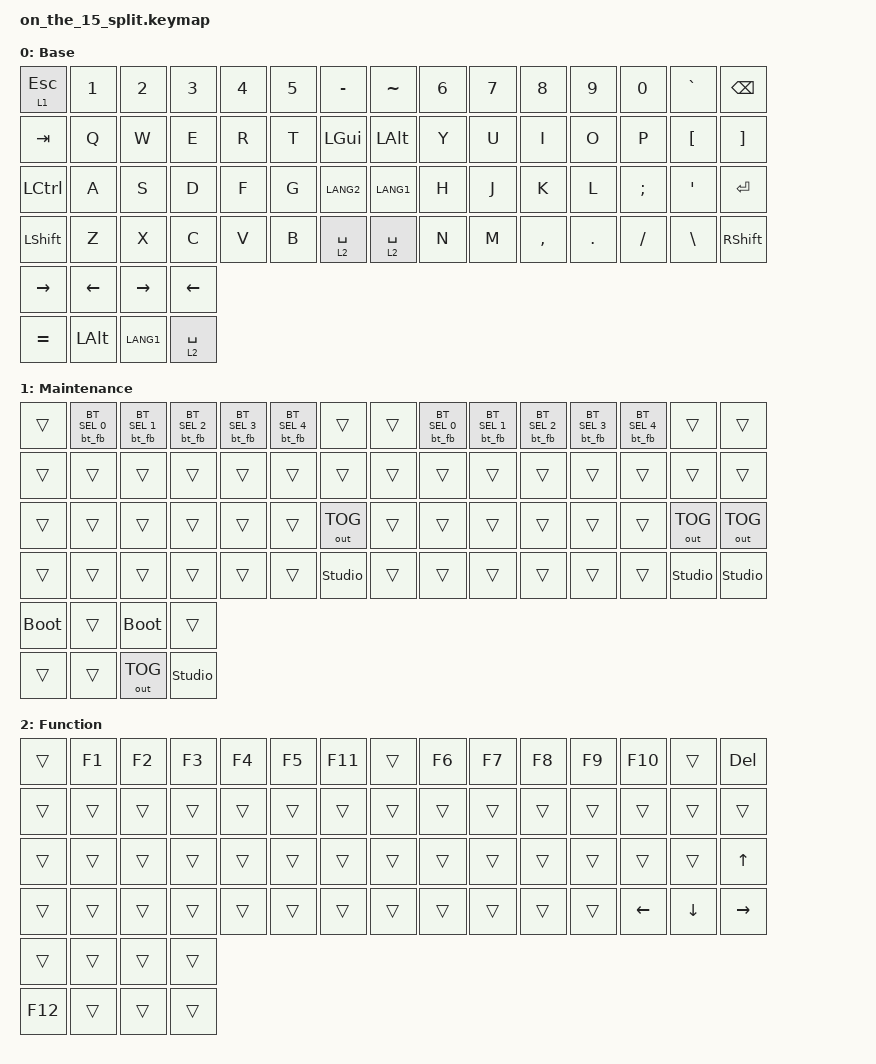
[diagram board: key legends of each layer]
/* Generic Studio-enabled stock keymap for the default x7-left/x8-right split. */

#include <behaviors.dtsi>
#include <dt-bindings/zmk/bt.h>
#include <dt-bindings/zmk/keys.h>
#include <dt-bindings/zmk/outputs.h>

/ {
    behaviors {
        bt_fb: bluetooth_feedback {
            compatible = "onthe15,behavior-bt-feedback";
            #binding-cells = <2>;
            display-name = "Bluetooth Feedback";
        };
    };

    keymap {
        compatible = "zmk,keymap";

        default_layer {
            display-name = "Base";
            bindings = <
&lt 1 ESC &kp N1 &kp N2 &kp N3 &kp N4 &kp N5 &kp MINUS  &kp TILDE &kp N6 &kp N7 &kp N8 &kp N9 &kp N0 &kp GRAVE &kp BSPC
&kp TAB &kp Q &kp W &kp E &kp R &kp T &kp LGUI  &kp LALT &kp Y &kp U &kp I &kp O &kp P &kp LBKT &kp RBKT
&kp LCTRL &kp A &kp S &kp D &kp F &kp G &kp LANG2  &kp LANG1 &kp H &kp J &kp K &kp L &kp SEMI &kp SQT &kp ENTER
&kp LSHFT &kp Z &kp X &kp C &kp V &kp B &lt 2 SPACE  &lt 2 SPACE &kp N &kp M &kp COMMA &kp DOT &kp FSLH &kp BSLH &kp RSHFT
&kp RIGHT &kp LEFT &kp RIGHT &kp LEFT
&kp EQUAL &kp LALT &kp LANG1 &lt 2 SPACE
            >;
        };

        maintenance_layer: maintenance_layer {
            display-name = "Maintenance";
            bindings = <
&trans &bt_fb BT_SEL 0 &bt_fb BT_SEL 1 &bt_fb BT_SEL 2 &bt_fb BT_SEL 3 &bt_fb BT_SEL 4 &trans &trans &bt_fb BT_SEL 0 &bt_fb BT_SEL 1 &bt_fb BT_SEL 2 &bt_fb BT_SEL 3 &bt_fb BT_SEL 4 &trans &trans
&trans &trans &trans &trans &trans &trans &trans  &trans &trans &trans &trans &trans &trans &trans &trans
&trans &trans &trans &trans &trans &trans &out OUT_TOG  &trans &trans &trans &trans &trans &trans &out OUT_TOG &out OUT_TOG
&trans &trans &trans &trans &trans &trans &studio_unlock  &trans &trans &trans &trans &trans &trans &studio_unlock &studio_unlock
&bootloader &trans &bootloader &trans
&trans &trans &out OUT_TOG &studio_unlock
            >;
        };

        function_layer {
            display-name = "Function";
            bindings = <
&trans &kp F1 &kp F2 &kp F3 &kp F4 &kp F5 &kp F11  &trans &kp F6 &kp F7 &kp F8 &kp F9 &kp F10 &trans &kp DEL
&trans &trans &trans &trans &trans &trans &trans  &trans &trans &trans &trans &trans &trans &trans &trans
&trans &trans &trans &trans &trans &trans &trans  &trans &trans &trans &trans &trans &trans &trans &kp UP
&trans &trans &trans &trans &trans &trans &trans  &trans &trans &trans &trans &trans &kp LEFT &kp DOWN &kp RIGHT
&trans &trans &trans &trans
&kp F12 &trans &trans &trans
            >;
        };
    };
};
